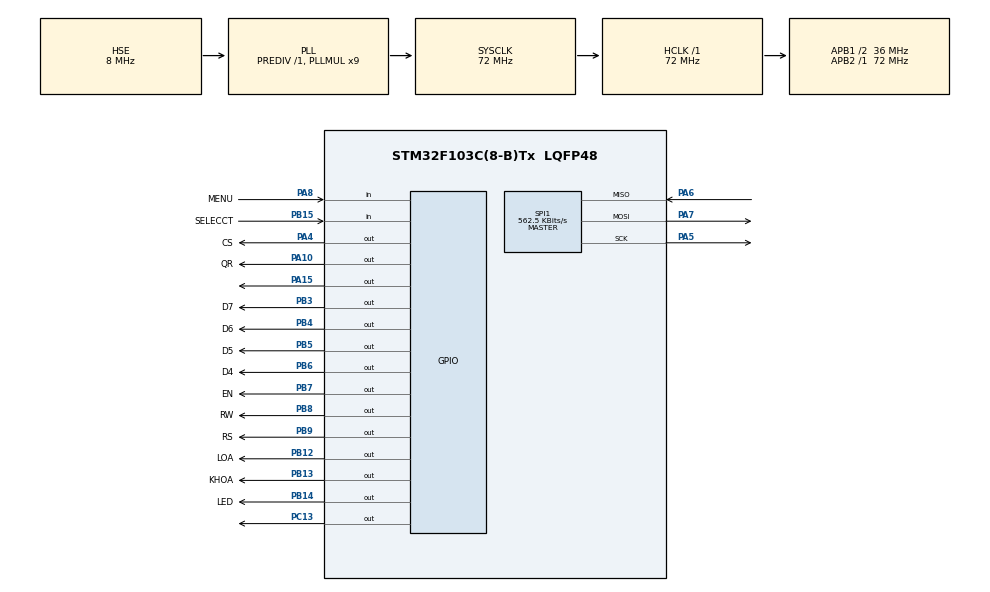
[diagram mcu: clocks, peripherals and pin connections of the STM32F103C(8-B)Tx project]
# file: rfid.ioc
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Mcu.Family=STM32F1
Mcu.Name=STM32F103C(8-B)Tx
Mcu.Package=LQFP48
NVIC.PriorityGroup=NVIC_PRIORITYGROUP_4
NVIC.TIM2_IRQn=true\:0\:0\:false\:false\:true\:true\:true\:true
PA10.GPIO_Label=QR
PA10.Signal=GPIO_Output
PA13.Mode=Serial_Wire
PA13.Signal=SYS_JTMS-SWDIO
PA14.Mode=Serial_Wire
PA14.Signal=SYS_JTCK-SWCLK
PA15.Signal=GPIO_Output
PA4.GPIO_Label=CS
PA4.Signal=GPIO_Output
PA5.Mode=Full_Duplex_Master
PA5.Signal=SPI1_SCK
PA6.Mode=Full_Duplex_Master
PA6.Signal=SPI1_MISO
PA7.Mode=Full_Duplex_Master
PA7.Signal=SPI1_MOSI
PA8.GPIO_Label=MENU
PA8.GPIO_PuPd=GPIO_PULLUP
PA8.Signal=GPIO_Input
PB12.GPIO_Label=LOA
PB12.PinState=GPIO_PIN_RESET
PB12.Signal=GPIO_Output
PB13.GPIO_Label=KHOA
PB13.PinState=GPIO_PIN_RESET
PB13.Signal=GPIO_Output
PB14.GPIO_Label=LED
PB14.PinState=GPIO_PIN_RESET
PB14.Signal=GPIO_Output
PB15.GPIO_Label=SELECCT
PB15.GPIO_PuPd=GPIO_PULLUP
PB15.Signal=GPIO_Input
PB3.GPIO_Label=D7
PB3.Signal=GPIO_Output
PB4.GPIO_Label=D6
PB4.Signal=GPIO_Output
PB5.GPIO_Label=D5
PB5.Signal=GPIO_Output
PB6.GPIO_Label=D4
PB6.Signal=GPIO_Output
PB7.GPIO_Label=EN
PB7.Signal=GPIO_Output
PB8.GPIO_Label=RW
PB8.Signal=GPIO_Output
PB9.GPIO_Label=RS
PB9.Signal=GPIO_Output
PC13-TAMPER-RTC.Signal=GPIO_Output
PD0-OSC_IN.Mode=HSE-External-Oscillator
PD0-OSC_IN.Signal=RCC_OSC_IN
PD1-OSC_OUT.Mode=HSE-External-Oscillator
PD1-OSC_OUT.Signal=RCC_OSC_OUT
ProjectManager.HeapSize=0x200
ProjectManager.StackSize=0x400
ProjectManager.TargetToolchain=STM32CubeIDE
RCC.AHBFreq_Value=72000000
RCC.APB1CLKDivider=RCC_HCLK_DIV2
RCC.APB1Freq_Value=36000000
RCC.APB1TimFreq_Value=72000000
RCC.APB2Freq_Value=72000000
RCC.APB2TimFreq_Value=72000000
RCC.HCLKFreq_Value=72000000
RCC.PLLMUL=RCC_PLL_MUL9
RCC.PLLSourceVirtual=RCC_PLLSOURCE_HSE
RCC.SYSCLKFreq_VALUE=72000000
RCC.SYSCLKSource=RCC_SYSCLKSOURCE_PLLCLK
RCC.USBFreq_Value=72000000
SPI1.BaudRatePrescaler=SPI_BAUDRATEPRESCALER_128
SPI1.CalculateBaudRate=562.5 KBits/s
SPI1.DataSize=SPI_DATASIZE_8BIT
SPI1.Direction=SPI_DIRECTION_2LINES
SPI1.Mode=SPI_MODE_MASTER
SPI1.VirtualType=VM_MASTER
TIM2.AutoReloadPreload=TIM_AUTORELOAD_PRELOAD_ENABLE
TIM2.Period=1999
TIM2.Prescaler=35999
VP_TIM2_VS_ClockSourceINT.Mode=Internal
board=custom

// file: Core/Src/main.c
/* USER CODE BEGIN Header */
/**
 ******************************************************************************
 * @file           : main.c
 * @brief          : Main program body
 ******************************************************************************
 * @attention
 *
 * Copyright (c) 2022 STMicroelectronics.
 * All rights reserved.
 *
 * This software is licensed under terms that can be found in the LICENSE file
 * in the root directory of this software component.
 * If no LICENSE file comes with this software, it is provided AS-IS.
 *
 ******************************************************************************
 */
/* USER CODE END Header */
#include "main.h"

/* USER CODE BEGIN Includes */
#include "stdio.h"
#include "lcd.h"
#include "rc522.h"
#include "flash.h"

/* USER CODE END Includes */

/* USER CODE BEGIN PD */
#define StartAddressUID 0x0800A000
/* USER CODE END PD */

SPI_HandleTypeDef hspi1;

TIM_HandleTypeDef htim2;

/* USER CODE BEGIN PV */

uint8_t CardID[MFRC522_MAX_LEN];
uint8_t exitmenu = 255;
CLCD_Name LCD1;;
uint32_t AddressUID = StartAddressUID;
uint8_t PassWord[16] = {0,1,0,1,0,1,0,1,0,1,0,1,0,1,0,1};
uint32_t delayloa = 100;
char str[20];
/* USER CODE END PV */

void SystemClock_Config(void);
static void MX_GPIO_Init(void);
static void MX_SPI1_Init(void);
static void MX_TIM2_Init(void);

/* USER CODE BEGIN 0 */

void seclectmenu(void);
void adduid(uint8_t key);
void removeuid(uint32_t address);
void checkthe(void);
void startadd(void);
void setaddress(void);
void password(void);
void resetflash(void);
uint8_t checkcountUID(void);
uint32_t CheckKey(uint8_t key);
uint8_t CheckUID(uint8_t *data, uint32_t address);
uint8_t CheckListUID(uint8_t *data);
uint8_t checkbuton(GPIO_TypeDef *GPIOx, uint16_t GPIO_Pin);

void HAL_TIM_PeriodElapsedCallback(TIM_HandleTypeDef *htim)
{
	HAL_GPIO_TogglePin(GPIOC, GPIO_PIN_13);
	if(exitmenu > 0)
		exitmenu --;
	else exitmenu = 0;
}

/* USER CODE END 0 */

int main(void)
{

  /* MCU Configuration--------------------------------------------------------*/

  /* Reset of all peripherals, Initializes the Flash interface and the Systick. */
  HAL_Init();

  /* Configure the system clock */
  SystemClock_Config();

  /* Initialize all configured peripherals */
  MX_GPIO_Init();
  MX_SPI1_Init();
  MX_TIM2_Init();
  /* USER CODE BEGIN 2 */

	TM_MFRC522_Init();

	CLCD_4BIT_Init(&LCD1, 16, 2, RS_GPIO_Port, RS_Pin, EN_GPIO_Port, EN_Pin,
				   D4_GPIO_Port, D4_Pin, D5_GPIO_Port, D5_Pin,
				   D6_GPIO_Port, D6_Pin, D7_GPIO_Port, D7_Pin);
  /* USER CODE END 2 */

  /* Infinite loop */
  /* USER CODE BEGIN WHILE */
	HAL_TIM_Base_Start_IT(&htim2);
	if (checkcountUID() == 0)
	{
		startadd();
	}
	while (1)
	{
    /* USER CODE END WHILE */

    /* USER CODE BEGIN 3 */

		CLCD_SetCursor(&LCD1, 0, 0);
		CLCD_WriteString(&LCD1, " MOI QUET THE ");
		if (checkbuton(MENU_GPIO_Port, MENU_Pin) != 0)
		{
			exitmenu = 15;
			CLCD_SetCursor(&LCD1, 0, 1);
			CLCD_WriteString(&LCD1, "THE NGUOI LON");
			uint8_t key = 0;
			uint8_t stat ;
			while (exitmenu )
			{
				if (TM_MFRC522_Check(CardID) == MI_OK)
				{
					HAL_GPIO_WritePin(LED_GPIO_Port, LED_Pin, 1);
					HAL_GPIO_WritePin(LOA_GPIO_Port, LOA_Pin, 1);
					HAL_Delay(delayloa);
					HAL_GPIO_WritePin(LOA_GPIO_Port, LOA_Pin, 0);
					HAL_GPIO_WritePin(LED_GPIO_Port, LED_Pin, 0);
					key = CheckListUID(CardID);
					key = key >> 4;
					break;
				}
				stat = checkbuton(MENU_GPIO_Port, MENU_Pin);
				switch(stat){
				case 0:
					break;
				case 3:
					password();
					key = 99;
					exitmenu = 0;
					break;
				default :
					key = 2;
					exitmenu = 0;
					break;
				}
			}
			switch (key){
			case 1:
				seclectmenu();
				break;
			case 99:
				break;
			default:
				CLCD_Clear(&LCD1);
				CLCD_SetCursor(&LCD1, 0, 0);
				CLCD_WriteString(&LCD1, "      SAI ");
				CLCD_SetCursor(&LCD1, 0, 1);
				CLCD_WriteString(&LCD1, "KHONG CO QUYEN");
				HAL_Delay(1000);
				CLCD_Clear(&LCD1);
				break;
			}
		}
		if (TM_MFRC522_Check(CardID) == MI_OK)
		{
//			sprintf(str, "ID: 0x%02X%02X%02X%02X%02X", CardID[0], CardID[1], CardID[2], CardID[3], CardID[4]);
			HAL_GPIO_WritePin(LED_GPIO_Port, LED_Pin, 1);
			HAL_GPIO_WritePin(LOA_GPIO_Port, LOA_Pin, 1);
			HAL_Delay(delayloa);
			HAL_GPIO_WritePin(LOA_GPIO_Port, LOA_Pin, 0);
			HAL_GPIO_WritePin(LED_GPIO_Port, LED_Pin, 0);
			if (CheckListUID(CardID) != 0)
			{
				HAL_GPIO_WritePin(KHOA_GPIO_Port, KHOA_Pin, 1);
				CLCD_Clear(&LCD1);
				CLCD_SetCursor(&LCD1, 0, 0);
				CLCD_WriteString(&LCD1, "    WELCOME");
				CLCD_SetCursor(&LCD1, 0, 1);
				CLCD_WriteString(&LCD1,str);
				HAL_Delay(5000);
				HAL_GPIO_WritePin(KHOA_GPIO_Port, KHOA_Pin, 0);
			}
			else
			{
				CLCD_Clear(&LCD1);
				CLCD_SetCursor(&LCD1, 0, 0);
				CLCD_WriteString(&LCD1, "   THE SAI");
				CLCD_SetCursor(&LCD1, 0, 1);
				CLCD_WriteString(&LCD1, str);
				HAL_Delay(5000);
			}

			CLCD_Clear(&LCD1);
			CLCD_SetCursor(&LCD1, 0, 0);
			CLCD_WriteString(&LCD1, " MOI QUET THE ");
		}
	}
  /* USER CODE END 3 */
}

void SystemClock_Config(void)
{
  RCC_OscInitTypeDef RCC_OscInitStruct = {0};
  RCC_ClkInitTypeDef RCC_ClkInitStruct = {0};

  /** Initializes the RCC Oscillators according to the specified parameters
  * in the RCC_OscInitTypeDef structure.
  */
  RCC_OscInitStruct.OscillatorType = RCC_OSCILLATORTYPE_HSE;
  RCC_OscInitStruct.HSEState = RCC_HSE_ON;
  RCC_OscInitStruct.HSEPredivValue = RCC_HSE_PREDIV_DIV1;
  RCC_OscInitStruct.HSIState = RCC_HSI_ON;
  RCC_OscInitStruct.PLL.PLLState = RCC_PLL_ON;
  RCC_OscInitStruct.PLL.PLLSource = RCC_PLLSOURCE_HSE;
  RCC_OscInitStruct.PLL.PLLMUL = RCC_PLL_MUL9;
  if (HAL_RCC_OscConfig(&RCC_OscInitStruct) != HAL_OK)
  {
    Error_Handler();
  }

  /** Initializes the CPU, AHB and APB buses clocks
  */
  RCC_ClkInitStruct.ClockType = RCC_CLOCKTYPE_HCLK|RCC_CLOCKTYPE_SYSCLK
                              |RCC_CLOCKTYPE_PCLK1|RCC_CLOCKTYPE_PCLK2;
  RCC_ClkInitStruct.SYSCLKSource = RCC_SYSCLKSOURCE_PLLCLK;
  RCC_ClkInitStruct.AHBCLKDivider = RCC_SYSCLK_DIV1;
  RCC_ClkInitStruct.APB1CLKDivider = RCC_HCLK_DIV2;
  RCC_ClkInitStruct.APB2CLKDivider = RCC_HCLK_DIV1;

  if (HAL_RCC_ClockConfig(&RCC_ClkInitStruct, FLASH_LATENCY_2) != HAL_OK)
  {
    Error_Handler();
  }
}

static void MX_SPI1_Init(void)
{

  /* SPI1 parameter configuration*/
  hspi1.Instance = SPI1;
  hspi1.Init.Mode = SPI_MODE_MASTER;
  hspi1.Init.Direction = SPI_DIRECTION_2LINES;
  hspi1.Init.DataSize = SPI_DATASIZE_8BIT;
  hspi1.Init.CLKPolarity = SPI_POLARITY_LOW;
  hspi1.Init.CLKPhase = SPI_PHASE_1EDGE;
  hspi1.Init.NSS = SPI_NSS_SOFT;
  hspi1.Init.BaudRatePrescaler = SPI_BAUDRATEPRESCALER_128;
  hspi1.Init.FirstBit = SPI_FIRSTBIT_MSB;
  hspi1.Init.TIMode = SPI_TIMODE_DISABLE;
  hspi1.Init.CRCCalculation = SPI_CRCCALCULATION_DISABLE;
  hspi1.Init.CRCPolynomial = 10;
  if (HAL_SPI_Init(&hspi1) != HAL_OK)
  {
    Error_Handler();
  }

}

static void MX_TIM2_Init(void)
{

  TIM_ClockConfigTypeDef sClockSourceConfig = {0};
  TIM_MasterConfigTypeDef sMasterConfig = {0};

  htim2.Instance = TIM2;
  htim2.Init.Prescaler = 35999;
  htim2.Init.CounterMode = TIM_COUNTERMODE_UP;
  htim2.Init.Period = 1999;
  htim2.Init.ClockDivision = TIM_CLOCKDIVISION_DIV1;
  htim2.Init.AutoReloadPreload = TIM_AUTORELOAD_PRELOAD_ENABLE;
  if (HAL_TIM_Base_Init(&htim2) != HAL_OK)
  {
    Error_Handler();
  }
  sClockSourceConfig.ClockSource = TIM_CLOCKSOURCE_INTERNAL;
  if (HAL_TIM_ConfigClockSource(&htim2, &sClockSourceConfig) != HAL_OK)
  {
    Error_Handler();
  }
  sMasterConfig.MasterOutputTrigger = TIM_TRGO_RESET;
  sMasterConfig.MasterSlaveMode = TIM_MASTERSLAVEMODE_DISABLE;
  if (HAL_TIMEx_MasterConfigSynchronization(&htim2, &sMasterConfig) != HAL_OK)
  {
    Error_Handler();
  }

}

static void MX_GPIO_Init(void)
{
  GPIO_InitTypeDef GPIO_InitStruct = {0};

  /* GPIO Ports Clock Enable */
  __HAL_RCC_GPIOC_CLK_ENABLE();
  __HAL_RCC_GPIOD_CLK_ENABLE();
  __HAL_RCC_GPIOA_CLK_ENABLE();
  __HAL_RCC_GPIOB_CLK_ENABLE();

  /*Configure GPIO pin Output Level */
  HAL_GPIO_WritePin(GPIOC, GPIO_PIN_13, GPIO_PIN_RESET);

  /*Configure GPIO pin Output Level */
  HAL_GPIO_WritePin(GPIOA, CS_Pin|QR_Pin|GPIO_PIN_15, GPIO_PIN_RESET);

  /*Configure GPIO pin Output Level */
  HAL_GPIO_WritePin(GPIOB, LOA_Pin|KHOA_Pin|LED_Pin|D7_Pin
                          |D6_Pin|D5_Pin|D4_Pin|EN_Pin
                          |RW_Pin|RS_Pin, GPIO_PIN_RESET);

  /*Configure GPIO pin : PC13 */
  GPIO_InitStruct.Pin = GPIO_PIN_13;
  GPIO_InitStruct.Mode = GPIO_MODE_OUTPUT_PP;
  GPIO_InitStruct.Pull = GPIO_NOPULL;
  GPIO_InitStruct.Speed = GPIO_SPEED_FREQ_LOW;
  HAL_GPIO_Init(GPIOC, &GPIO_InitStruct);

  /*Configure GPIO pins : CS_Pin QR_Pin PA15 */
  GPIO_InitStruct.Pin = CS_Pin|QR_Pin|GPIO_PIN_15;
  GPIO_InitStruct.Mode = GPIO_MODE_OUTPUT_PP;
  GPIO_InitStruct.Pull = GPIO_NOPULL;
  GPIO_InitStruct.Speed = GPIO_SPEED_FREQ_LOW;
  HAL_GPIO_Init(GPIOA, &GPIO_InitStruct);

  /*Configure GPIO pins : LOA_Pin KHOA_Pin LED_Pin D7_Pin
                           D6_Pin D5_Pin D4_Pin EN_Pin
                           RW_Pin RS_Pin */
  GPIO_InitStruct.Pin = LOA_Pin|KHOA_Pin|LED_Pin|D7_Pin
                          |D6_Pin|D5_Pin|D4_Pin|EN_Pin
                          |RW_Pin|RS_Pin;
  GPIO_InitStruct.Mode = GPIO_MODE_OUTPUT_PP;
  GPIO_InitStruct.Pull = GPIO_NOPULL;
  GPIO_InitStruct.Speed = GPIO_SPEED_FREQ_LOW;
  HAL_GPIO_Init(GPIOB, &GPIO_InitStruct);

  /*Configure GPIO pin : SELECCT_Pin */
  GPIO_InitStruct.Pin = SELECCT_Pin;
  GPIO_InitStruct.Mode = GPIO_MODE_INPUT;
  GPIO_InitStruct.Pull = GPIO_PULLUP;
  HAL_GPIO_Init(SELECCT_GPIO_Port, &GPIO_InitStruct);

  /*Configure GPIO pin : MENU_Pin */
  GPIO_InitStruct.Pin = MENU_Pin;
  GPIO_InitStruct.Mode = GPIO_MODE_INPUT;
  GPIO_InitStruct.Pull = GPIO_PULLUP;
  HAL_GPIO_Init(MENU_GPIO_Port, &GPIO_InitStruct);

}

/* USER CODE BEGIN 4 */
uint8_t checkbuton(GPIO_TypeDef *GPIOx, uint16_t GPIO_Pin)
{
	if (HAL_GPIO_ReadPin(GPIOx, GPIO_Pin) == 1)
		return 0;
	else
	{
		HAL_Delay(50);
		if(HAL_GPIO_ReadPin(GPIOx, GPIO_Pin) == 1)	return 0;
		uint8_t i = 50;
		while (HAL_GPIO_ReadPin(GPIOx, GPIO_Pin) == 0)
		{
			HAL_Delay(10);
			i--;
			if (i == 0)
			{
				i = 250;
				while (HAL_GPIO_ReadPin(GPIOx, GPIO_Pin) == 0)
				{
					HAL_Delay(10);
					i--;
					if(i == 0)	return 3;
				}
				return 2;
			}
		}
		return 1;
	}
}

void seclectmenu(void)
{
	exitmenu = 15;
	uint8_t status = -1;
	CLCD_Clear(&LCD1);
	CLCD_SetCursor(&LCD1, 0, 0);
	CLCD_WriteString(&LCD1, "  SELECT MENU");
	CLCD_SetCursor(&LCD1, 0, 1);
	CLCD_WriteString(&LCD1, "    THEM THE");
	while (exitmenu )
	{
		if (checkbuton(SELECCT_GPIO_Port, SELECCT_Pin) != 0)
		{
			exitmenu = 15;
			status++;
			status = (status > 3) ? 0 : status;
			switch (status)
			{
			case 0:
				CLCD_Clear(&LCD1);
				CLCD_SetCursor(&LCD1, 0, 0);
				CLCD_WriteString(&LCD1, "=>  THEM THE");
				CLCD_SetCursor(&LCD1, 0, 1);
				CLCD_WriteString(&LCD1, "    XOA THE");
				break;
			case 1:
				CLCD_Clear(&LCD1);
				CLCD_SetCursor(&LCD1, 0, 0);
				CLCD_WriteString(&LCD1, "    THEM THE");
				CLCD_SetCursor(&LCD1, 0, 1);
				CLCD_WriteString(&LCD1, "=>  XOA THE");
				break;
			case 2:
				CLCD_Clear(&LCD1);
				CLCD_SetCursor(&LCD1, 0, 0);
				CLCD_WriteString(&LCD1, "    XOA THE");
				CLCD_SetCursor(&LCD1, 0, 1);
				CLCD_WriteString(&LCD1, "=>  TRA THE");
				break;
			default:
				CLCD_Clear(&LCD1);
				CLCD_SetCursor(&LCD1, 0, 0);
				CLCD_WriteString(&LCD1, "    TRA THE");
				CLCD_SetCursor(&LCD1, 0, 1);
				CLCD_WriteString(&LCD1, "=>  THOAT");
				break;
			}
		}
		if (checkbuton(MENU_GPIO_Port, MENU_Pin) != 0)
		{
			exitmenu = 15;
			switch (status)
			{
			case 0:
				CLCD_Clear(&LCD1);
				CLCD_SetCursor(&LCD1, 0, 0);
				CLCD_WriteString(&LCD1, "    SELECT ");
				CLCD_SetCursor(&LCD1, 0, 1);
				CLCD_WriteString(&LCD1, "   THE NGUOI LON");
				uint8_t statusadd = 0;
				uint8_t back = 1;
				while (back == 1)
				{
					if (exitmenu == 0)
					{
						CLCD_Clear(&LCD1);
						HAL_Delay(1000);
						return;
					}
					if (checkbuton(SELECCT_GPIO_Port, SELECCT_Pin) != 0)
					{
						exitmenu = 15;
						statusadd++;
						statusadd = (statusadd > 2) ? 0 : statusadd;
						switch (statusadd)
						{
						case 1:
							CLCD_Clear(&LCD1);
							CLCD_SetCursor(&LCD1, 0, 0);
							CLCD_WriteString(&LCD1, "=> THE NGUOI LON");
							CLCD_SetCursor(&LCD1, 0, 1);
							CLCD_WriteString(&LCD1, "   THE TRE EM");
							break;
						case 2:
							CLCD_Clear(&LCD1);
							CLCD_SetCursor(&LCD1, 0, 0);
							CLCD_WriteString(&LCD1, "   THE NGUOI LON");
							CLCD_SetCursor(&LCD1, 0, 1);
							CLCD_WriteString(&LCD1, "=> THE TRE EM");
							break;
						default:
							CLCD_Clear(&LCD1);
							CLCD_SetCursor(&LCD1, 0, 0);
							CLCD_WriteString(&LCD1, "   THE TRE EM");
							CLCD_SetCursor(&LCD1, 0, 1);
							CLCD_WriteString(&LCD1, "=> BACK");
							break;
						}
					}
					if (checkbuton(MENU_GPIO_Port, MENU_Pin) != 0)
					{
						exitmenu = 15;
						switch (statusadd)
						{
						case 1:
							CLCD_Clear(&LCD1);
							CLCD_SetCursor(&LCD1, 0, 0);
							CLCD_WriteString(&LCD1, "=>  THE 1 ");
							CLCD_SetCursor(&LCD1, 0, 1);
							CLCD_WriteString(&LCD1, "    THE 2 ");
							uint8_t statusadd1 = 1;
							uint8_t back11 = 1;
							while (back11 == 1)
							{
								if (exitmenu == 0)
								{
									CLCD_Clear(&LCD1);
									HAL_Delay(1000);
									return;
								}
								if (checkbuton(SELECCT_GPIO_Port, SELECCT_Pin) != 0)
								{
									exitmenu = 15;
									statusadd1++;
									statusadd1 = (statusadd1 > 4) ? 0 : statusadd1;
									switch (statusadd1)
									{
									case 1:
										CLCD_Clear(&LCD1);
										CLCD_SetCursor(&LCD1, 0, 0);
										CLCD_WriteString(&LCD1, "=>  THE 1 ");
										CLCD_SetCursor(&LCD1, 0, 1);
										CLCD_WriteString(&LCD1, "    THE 2 ");
										break;
									case 2:
										CLCD_Clear(&LCD1);
										CLCD_SetCursor(&LCD1, 0, 0);
										CLCD_WriteString(&LCD1, "=>  THE 2 ");
										CLCD_SetCursor(&LCD1, 0, 1);
										CLCD_WriteString(&LCD1, "    THE 3 ");
										break;
									case 3:
										CLCD_Clear(&LCD1);
										CLCD_SetCursor(&LCD1, 0, 0);
										CLCD_WriteString(&LCD1, "=>  THE 3 ");
										CLCD_SetCursor(&LCD1, 0, 1);
										CLCD_WriteString(&LCD1, "    THE 4 ");
										break;
									case 4:
										CLCD_Clear(&LCD1);
										CLCD_SetCursor(&LCD1, 0, 0);
										CLCD_WriteString(&LCD1, "=>  THE 4 ");
										CLCD_SetCursor(&LCD1, 0, 1);
										CLCD_WriteString(&LCD1, "    BACK ");
										break;
									default:
										CLCD_Clear(&LCD1);
										CLCD_SetCursor(&LCD1, 0, 0);
										CLCD_WriteString(&LCD1, "    THE 4 ");
										CLCD_SetCursor(&LCD1, 0, 1);
										CLCD_WriteString(&LCD1, "=>  BACK");
										break;
									}
								}
								if (checkbuton(MENU_GPIO_Port, MENU_Pin) != 0)
								{
									exitmenu = 15;
									uint8_t keyadd1 = (statusadd << 4) + statusadd1;
									switch (statusadd1)
									{
									case 1:
										if (CheckKey(keyadd1) != 0)
										{
											CLCD_Clear(&LCD1);
											CLCD_SetCursor(&LCD1, 0, 0);
											CLCD_WriteString(&LCD1, "  DA CO THE 1 ");
											HAL_Delay(1000);
											CLCD_Clear(&LCD1);
											CLCD_SetCursor(&LCD1, 0, 0);
											CLCD_WriteString(&LCD1, "=>  THE 1 ");
											CLCD_SetCursor(&LCD1, 0, 1);
											CLCD_WriteString(&LCD1, "    THE 2 ");
										}
										else
										{
											adduid(keyadd1);
											CLCD_Clear(&LCD1);
											CLCD_SetCursor(&LCD1, 0, 0);
											CLCD_WriteString(&LCD1, "=>  THE 1 ");
											CLCD_SetCursor(&LCD1, 0, 1);
											CLCD_WriteString(&LCD1, "    THE 2 ");
										}
										break;
									case 2:
										if (CheckKey(keyadd1) != 0)
										{
											CLCD_Clear(&LCD1);
											CLCD_SetCursor(&LCD1, 0, 0);
											CLCD_WriteString(&LCD1, "  DA CO THE 2 ");
											HAL_Delay(1000);
											CLCD_Clear(&LCD1);
											CLCD_SetCursor(&LCD1, 0, 0);
											CLCD_WriteString(&LCD1, "=>  THE 2 ");
											CLCD_SetCursor(&LCD1, 0, 1);
											CLCD_WriteString(&LCD1, "    THE 3 ");
										}
										else
										{
											adduid(keyadd1);
											CLCD_Clear(&LCD1);
											CLCD_SetCursor(&LCD1, 0, 0);
											CLCD_WriteString(&LCD1, "=>  THE 2 ");
											CLCD_SetCursor(&LCD1, 0, 1);
											CLCD_WriteString(&LCD1, "    THE 3 ");
										}
										break;
									case 3:
										if (CheckKey(keyadd1) != 0)
										{
											CLCD_Clear(&LCD1);
											CLCD_SetCursor(&LCD1, 0, 0);
											CLCD_WriteString(&LCD1, "  DA CO THE 3 ");
											HAL_Delay(1000);
											CLCD_Clear(&LCD1);
											CLCD_SetCursor(&LCD1, 0, 0);
											CLCD_WriteString(&LCD1, "=>  THE 3 ");
											CLCD_SetCursor(&LCD1, 0, 1);
											CLCD_WriteString(&LCD1, "    THE 4 ");
										}
										else
										{
											adduid(keyadd1);
											CLCD_Clear(&LCD1);
											CLCD_SetCursor(&LCD1, 0, 0);
											CLCD_WriteString(&LCD1, "=>  THE 3 ");
											CLCD_SetCursor(&LCD1, 0, 1);
											CLCD_WriteString(&LCD1, "    THE 4 ");
										}
										break;
									case 4:
										if (CheckKey(keyadd1) != 0)
										{
											CLCD_Clear(&LCD1);
											CLCD_SetCursor(&LCD1, 0, 0);
											CLCD_WriteString(&LCD1, "  DA CO THE 4 ");
											HAL_Delay(1000);
											CLCD_Clear(&LCD1);
											CLCD_SetCursor(&LCD1, 0, 0);
											CLCD_WriteString(&LCD1, "=>  THE 4 ");
											CLCD_SetCursor(&LCD1, 0, 1);
											CLCD_WriteString(&LCD1, "    BACK ");
										}
										else
										{
											adduid(keyadd1);
											CLCD_Clear(&LCD1);
											CLCD_SetCursor(&LCD1, 0, 0);
											CLCD_WriteString(&LCD1, "=>  THE 4 ");
											CLCD_SetCursor(&LCD1, 0, 1);
											CLCD_WriteString(&LCD1, "    BACK ");
										}
										break;
									default:
										back11 = 0;
										break;
									}
								}
							}
							CLCD_Clear(&LCD1);
							CLCD_SetCursor(&LCD1, 0, 0);
							CLCD_WriteString(&LCD1, "=> THE NGUOI LON");
							CLCD_SetCursor(&LCD1, 0, 1);
							CLCD_WriteString(&LCD1, "   THE TRE EM");
							break;
						case 2:
							CLCD_Clear(&LCD1);
							CLCD_SetCursor(&LCD1, 0, 0);
							CLCD_WriteString(&LCD1, "=>  THE 1 ");
							CLCD_SetCursor(&LCD1, 0, 1);
							CLCD_WriteString(&LCD1, "    THE 2 ");
							uint8_t statusadd2 = 1;
							uint8_t back12 = 1;
							while (back12 == 1)
							{
								if (exitmenu == 0)
								{
									CLCD_Clear(&LCD1);
									HAL_Delay(1000);
									return;
								}
								if (checkbuton(SELECCT_GPIO_Port, SELECCT_Pin) != 0)
								{
									exitmenu = 15;
									statusadd2++;
									statusadd2 = (statusadd2 > 4) ? 0 : statusadd2;
									switch (statusadd2)
									{
									case 1:
										CLCD_Clear(&LCD1);
										CLCD_SetCursor(&LCD1, 0, 0);
										CLCD_WriteString(&LCD1, "=>  THE 1 ");
										CLCD_SetCursor(&LCD1, 0, 1);
										CLCD_WriteString(&LCD1, "    THE 2 ");
										break;
									case 2:
										CLCD_Clear(&LCD1);
										CLCD_SetCursor(&LCD1, 0, 0);
										CLCD_WriteString(&LCD1, "=>  THE 2 ");
										CLCD_SetCursor(&LCD1, 0, 1);
										CLCD_WriteString(&LCD1, "    THE 3 ");
										break;
									case 3:
										CLCD_Clear(&LCD1);
										CLCD_SetCursor(&LCD1, 0, 0);
										CLCD_WriteString(&LCD1, "=>  THE 3 ");
										CLCD_SetCursor(&LCD1, 0, 1);
										CLCD_WriteString(&LCD1, "    THE 4 ");
										break;
									case 4:
										CLCD_Clear(&LCD1);
										CLCD_SetCursor(&LCD1, 0, 0);
										CLCD_WriteString(&LCD1, "=>  THE 4 ");
										CLCD_SetCursor(&LCD1, 0, 1);
										CLCD_WriteString(&LCD1, "    BACK ");
										break;
									default:
										CLCD_Clear(&LCD1);
										CLCD_SetCursor(&LCD1, 0, 0);
										CLCD_WriteString(&LCD1, "    THE 4 ");
										CLCD_SetCursor(&LCD1, 0, 1);
										CLCD_WriteString(&LCD1, "=>  BACK");
										break;
									}
								}
								if (checkbuton(MENU_GPIO_Port, MENU_Pin) != 0)
								{
									exitmenu = 15;
									uint8_t keyadd2 = (statusadd << 4) + statusadd2;
									switch (statusadd2)
									{
									case 1:
										if (CheckKey(keyadd2) != 0)
										{
											CLCD_Clear(&LCD1);
											CLCD_SetCursor(&LCD1, 0, 0);
											CLCD_WriteString(&LCD1, "  DA CO THE 1 ");
											HAL_Delay(1000);
											CLCD_Clear(&LCD1);
											CLCD_SetCursor(&LCD1, 0, 0);
											CLCD_WriteString(&LCD1, "=>  THE 1 ");
											CLCD_SetCursor(&LCD1, 0, 1);
											CLCD_WriteString(&LCD1, "    THE 2 ");
										}
										else
										{
											adduid(keyadd2);
											CLCD_Clear(&LCD1);
											CLCD_SetCursor(&LCD1, 0, 0);
											CLCD_WriteString(&LCD1, "=>  THE 1 ");
											CLCD_SetCursor(&LCD1, 0, 1);
											CLCD_WriteString(&LCD1, "    THE 2 ");
										}
										break;
									case 2:
										if (CheckKey(keyadd2) != 0)
										{
											CLCD_Clear(&LCD1);
											CLCD_SetCursor(&LCD1, 0, 0);
											CLCD_WriteString(&LCD1, "  DA CO THE 2 ");
											HAL_Delay(1000);
											CLCD_Clear(&LCD1);
											CLCD_SetCursor(&LCD1, 0, 0);
											CLCD_WriteString(&LCD1, "=>  THE 2 ");
											CLCD_SetCursor(&LCD1, 0, 1);
											CLCD_WriteString(&LCD1, "    THE 3 ");
										}
										else
										{
											adduid(keyadd2);
											CLCD_Clear(&LCD1);
											CLCD_SetCursor(&LCD1, 0, 0);
											CLCD_WriteString(&LCD1, "=>  THE 2 ");
											CLCD_SetCursor(&LCD1, 0, 1);
											CLCD_WriteString(&LCD1, "    THE 3 ");
										}
										break;
									case 3:
										if (CheckKey(keyadd2) != 0)
										{
											CLCD_Clear(&LCD1);
											CLCD_SetCursor(&LCD1, 0, 0);
											CLCD_WriteString(&LCD1, "  DA CO THE 3 ");
											HAL_Delay(1000);
											CLCD_Clear(&LCD1);
											CLCD_SetCursor(&LCD1, 0, 0);
											CLCD_WriteString(&LCD1, "=>  THE 3 ");
											CLCD_SetCursor(&LCD1, 0, 1);
											CLCD_WriteString(&LCD1, "    THE 4 ");
										}
										else
										{
											adduid(keyadd2);
											CLCD_Clear(&LCD1);
											CLCD_SetCursor(&LCD1, 0, 0);
											CLCD_WriteString(&LCD1, "=>  THE 3 ");
											CLCD_SetCursor(&LCD1, 0, 1);
											CLCD_WriteString(&LCD1, "    THE 4 ");
										}
										break;
									case 4:
										if (CheckKey(keyadd2) != 0)
										{
											CLCD_Clear(&LCD1);
											CLCD_SetCursor(&LCD1, 0, 0);
											CLCD_WriteString(&LCD1, "  DA CO THE 4 ");
											HAL_Delay(1000);
											CLCD_Clear(&LCD1);
											CLCD_SetCursor(&LCD1, 0, 0);
											CLCD_WriteString(&LCD1, "=>  THE 4 ");
											CLCD_SetCursor(&LCD1, 0, 1);
											CLCD_WriteString(&LCD1, "    BACK ");
										}
										else
										{
											adduid(keyadd2);
											CLCD_Clear(&LCD1);
											CLCD_SetCursor(&LCD1, 0, 0);
											CLCD_WriteString(&LCD1, "=>  THE 4 ");
											CLCD_SetCursor(&LCD1, 0, 1);
											CLCD_WriteString(&LCD1, "    BACK ");
										}
										break;
									default:
										back12 = 0;
										break;
									}
								}
							}
							CLCD_Clear(&LCD1);
							CLCD_SetCursor(&LCD1, 0, 0);
							CLCD_WriteString(&LCD1, "   THE NGUOI LON");
							CLCD_SetCursor(&LCD1, 0, 1);
							CLCD_WriteString(&LCD1, "=> THE TRE EM");
							break;
						default:
							back = 0;
							break;
						}
					}
				}
				CLCD_Clear(&LCD1);
				CLCD_SetCursor(&LCD1, 0, 0);
				CLCD_WriteString(&LCD1, "=>  THEM THE");
				CLCD_SetCursor(&LCD1, 0, 1);
				CLCD_WriteString(&LCD1, "    XOA THE");
				break;
			case 1:
				CLCD_Clear(&LCD1);
				CLCD_SetCursor(&LCD1, 0, 0);
				CLCD_WriteString(&LCD1, "     SELECT ");
				CLCD_SetCursor(&LCD1, 0, 1);
				CLCD_WriteString(&LCD1, "   XOA 1 THE");
				uint8_t statusremove = -1;
				uint8_t backrm = 1;
				while (backrm == 1)
				{
					if (exitmenu == 0)
					{
						CLCD_Clear(&LCD1);
						HAL_Delay(1000);
						return;
					}
					if (checkbuton(SELECCT_GPIO_Port, SELECCT_Pin) != 0)
					{
						exitmenu = 15;
						statusremove++;
						statusremove = (statusremove > 2) ? 0 : statusremove;
						switch (statusremove)
						{
						case 0:
							CLCD_Clear(&LCD1);
							CLCD_SetCursor(&LCD1, 0, 0);
							CLCD_WriteString(&LCD1, "=> XOA 1 THE");
							CLCD_SetCursor(&LCD1, 0, 1);
							CLCD_WriteString(&LCD1, "   XOA TAT CA");
							break;
						case 1:
							CLCD_Clear(&LCD1);
							CLCD_SetCursor(&LCD1, 0, 0);
							CLCD_WriteString(&LCD1, "   XOA 1 THE");
							CLCD_SetCursor(&LCD1, 0, 1);
							CLCD_WriteString(&LCD1, "=> XOA TAT CA");
							break;
						default:
							CLCD_Clear(&LCD1);
							CLCD_SetCursor(&LCD1, 0, 0);
							CLCD_WriteString(&LCD1, "   XOA TAT CA");
							CLCD_SetCursor(&LCD1, 0, 1);
							CLCD_WriteString(&LCD1, "=> BACK");
							break;
						}
					}
					if (checkbuton(MENU_GPIO_Port, MENU_Pin) != 0)
					{
						exitmenu = 15;
						switch (statusremove)
						{
						case 0:
							CLCD_Clear(&LCD1);
							CLCD_SetCursor(&LCD1, 0, 0);
							CLCD_WriteString(&LCD1, "=> CHON THE");
							CLCD_SetCursor(&LCD1, 0, 1);
							CLCD_WriteString(&LCD1, "   QUET THE");
							uint8_t statusrm1 = 0;
							uint8_t backrm1 = 1;
							while (backrm1 == 1)
							{
								if (exitmenu == 0)
								{
									CLCD_Clear(&LCD1);
									HAL_Delay(1000);
									return;
								}
								if (checkbuton(SELECCT_GPIO_Port, SELECCT_Pin) != 0)
								{
									statusrm1++;
									statusrm1 = (statusrm1 > 2) ? 0 : statusrm1;
									switch (statusrm1)
									{
									case 0:
										CLCD_Clear(&LCD1);
										CLCD_SetCursor(&LCD1, 0, 0);
										CLCD_WriteString(&LCD1, "=> CHON THE");
										CLCD_SetCursor(&LCD1, 0, 1);
										CLCD_WriteString(&LCD1, "   QUET THE");
										break;
									case 1:
										CLCD_Clear(&LCD1);
										CLCD_SetCursor(&LCD1, 0, 0);
										CLCD_WriteString(&LCD1, "   CHON THE");
										CLCD_SetCursor(&LCD1, 0, 1);
										CLCD_WriteString(&LCD1, "=> QUET THE");
										;
										break;
									default:
										CLCD_Clear(&LCD1);
										CLCD_SetCursor(&LCD1, 0, 0);
										CLCD_WriteString(&LCD1, "   QUET THE");
										CLCD_SetCursor(&LCD1, 0, 1);
										CLCD_WriteString(&LCD1, "=> BACK");
										break;
									}
								}
								if (checkbuton(MENU_GPIO_Port, MENU_Pin) != 0)
								{
									exitmenu = 15;
									switch (statusrm1)
									{
									case 0:
										CLCD_Clear(&LCD1);
										CLCD_SetCursor(&LCD1, 0, 0);
										CLCD_WriteString(&LCD1, "=> THE NGUOI LON");
										CLCD_SetCursor(&LCD1, 0, 1);
										CLCD_WriteString(&LCD1, "   THE TRE EM");
										uint8_t statusadd = 1;
										uint8_t backrm10 = 1;
										while (backrm10 == 1)
										{
											if (exitmenu == 0)
											{
												CLCD_Clear(&LCD1);
												HAL_Delay(1000);
												return;
											}
											if (checkbuton(SELECCT_GPIO_Port, SELECCT_Pin) != 0)
											{
												exitmenu = 15;
												statusadd++;
												statusadd = (statusadd > 2) ? 0 : statusadd;
												switch (statusadd)
												{
												case 1:
													CLCD_Clear(&LCD1);
													CLCD_SetCursor(&LCD1, 0, 0);
													CLCD_WriteString(&LCD1, "=> THE NGUOI LON");
													CLCD_SetCursor(&LCD1, 0, 1);
													CLCD_WriteString(&LCD1, "   THE TRE EM");
													break;
												case 2:
													CLCD_Clear(&LCD1);
													CLCD_SetCursor(&LCD1, 0, 0);
													CLCD_WriteString(&LCD1, "   THE NGUOI LON");
													CLCD_SetCursor(&LCD1, 0, 1);
													CLCD_WriteString(&LCD1, "=> THE TRE EM");
													break;
												default:
													CLCD_Clear(&LCD1);
													CLCD_SetCursor(&LCD1, 0, 0);
													CLCD_WriteString(&LCD1, "   THE TRE EM");
													CLCD_SetCursor(&LCD1, 0, 1);
													CLCD_WriteString(&LCD1, "=> BACK");
													break;
												}
											}
											if (checkbuton(MENU_GPIO_Port, MENU_Pin) != 0)
											{
												exitmenu = 15;
												switch (statusadd)
												{
												case 1:
													CLCD_Clear(&LCD1);
													CLCD_SetCursor(&LCD1, 0, 0);
													CLCD_WriteString(&LCD1, "=>  THE 1 ");
													CLCD_SetCursor(&LCD1, 0, 1);
													CLCD_WriteString(&LCD1, "    THE 2 ");
													uint8_t statusadd1 = 1;
													uint8_t back11 = 1;
													while (back11 == 1)
													{
														if (exitmenu == 0)
														{
															CLCD_Clear(&LCD1);
															HAL_Delay(1000);
															return;
														}
														if (checkbuton(SELECCT_GPIO_Port, SELECCT_Pin) != 0)
														{
															exitmenu = 15;
															statusadd1++;
															statusadd1 = (statusadd1 > 4) ? 0 : statusadd1;
															switch (statusadd1)
															{
															case 1:
																CLCD_Clear(&LCD1);
																CLCD_SetCursor(&LCD1, 0, 0);
																CLCD_WriteString(&LCD1, "=>  THE 1 ");
																CLCD_SetCursor(&LCD1, 0, 1);
																CLCD_WriteString(&LCD1, "    THE 2 ");
																break;
															case 2:
																CLCD_Clear(&LCD1);
																CLCD_SetCursor(&LCD1, 0, 0);
																CLCD_WriteString(&LCD1, "=>  THE 2 ");
																CLCD_SetCursor(&LCD1, 0, 1);
																CLCD_WriteString(&LCD1, "    THE 3 ");
																break;
															case 3:
																CLCD_Clear(&LCD1);
																CLCD_SetCursor(&LCD1, 0, 0);
																CLCD_WriteString(&LCD1, "=>  THE 3 ");
																CLCD_SetCursor(&LCD1, 0, 1);
																CLCD_WriteString(&LCD1, "    THE 4 ");
																break;
															case 4:
																CLCD_Clear(&LCD1);
																CLCD_SetCursor(&LCD1, 0, 0);
																CLCD_WriteString(&LCD1, "=>  THE 4 ");
																CLCD_SetCursor(&LCD1, 0, 1);
																CLCD_WriteString(&LCD1, "    BACK ");
																break;
															default:
																CLCD_Clear(&LCD1);
																CLCD_SetCursor(&LCD1, 0, 0);
																CLCD_WriteString(&LCD1, "    THE 4 ");
																CLCD_SetCursor(&LCD1, 0, 1);
																CLCD_WriteString(&LCD1, "=>  BACK");
																break;
															}
														}
														if (checkbuton(MENU_GPIO_Port, MENU_Pin) != 0)
														{
															exitmenu = 15;
															uint8_t keyadd1 = (statusadd << 4) + statusadd1;
															switch (statusadd1)
															{
															case 1:
																if (CheckKey(keyadd1) == 0)
																{
																	CLCD_Clear(&LCD1);
																	CLCD_SetCursor(&LCD1, 0, 0);
																	CLCD_WriteString(&LCD1, "CHUA CO THE 1 ");
																	HAL_Delay(1000);
																	CLCD_Clear(&LCD1);
																	CLCD_SetCursor(&LCD1, 0, 0);
																	CLCD_WriteString(&LCD1, "=>  THE 1 ");
																	CLCD_SetCursor(&LCD1, 0, 1);
																	CLCD_WriteString(&LCD1, "    THE 2 ");
																}
																else
																{
																	removeuid(CheckKey(keyadd1));
																	CLCD_Clear(&LCD1);
																	CLCD_SetCursor(&LCD1, 0, 0);
																	CLCD_WriteString(&LCD1, "XOA THANH CONG");
																	HAL_Delay(1000);
																	if (checkcountUID() == 0)
																	{
																		startadd();
																		exitmenu = 0;
																	}
																	else
																	{
																		CLCD_Clear(&LCD1);
																		CLCD_SetCursor(&LCD1, 0, 0);
																		CLCD_WriteString(&LCD1, "=>  THE 1 ");
																		CLCD_SetCursor(&LCD1, 0, 1);
																		CLCD_WriteString(&LCD1, "    THE 2 ");
																	}
																}
																break;
															case 2:
																if (CheckKey(keyadd1) == 0)
																{
																	CLCD_Clear(&LCD1);
																	CLCD_SetCursor(&LCD1, 0, 0);
																	CLCD_WriteString(&LCD1, "CHUA CO THE 2 ");
																	HAL_Delay(1000);
																	CLCD_Clear(&LCD1);
																	CLCD_SetCursor(&LCD1, 0, 0);
																	CLCD_WriteString(&LCD1, "=>  THE 2 ");
																	CLCD_SetCursor(&LCD1, 0, 1);
																	CLCD_WriteString(&LCD1, "    THE 3 ");
																}
																else
																{
																	removeuid(CheckKey(keyadd1));
																	CLCD_Clear(&LCD1);
																	CLCD_SetCursor(&LCD1, 0, 0);
																	CLCD_WriteString(&LCD1, "XOA THANH CONG");
																	HAL_Delay(1000);
																	if (checkcountUID() == 0)
																	{
																		startadd();
																		exitmenu = 0;
																	}
																	else
																	{
																		CLCD_Clear(&LCD1);
																		CLCD_SetCursor(&LCD1, 0, 0);
																		CLCD_WriteString(&LCD1, "=>  THE 2 ");
																		CLCD_SetCursor(&LCD1, 0, 1);
																		CLCD_WriteString(&LCD1, "    THE 3 ");
																	}
																}
																break;
															case 3:
																if (CheckKey(keyadd1) == 0)
																{
																	CLCD_Clear(&LCD1);
																	CLCD_SetCursor(&LCD1, 0, 0);
																	CLCD_WriteString(&LCD1, "CHUA CO THE 3 ");
																	HAL_Delay(1000);
																	CLCD_Clear(&LCD1);
																	CLCD_SetCursor(&LCD1, 0, 0);
																	CLCD_WriteString(&LCD1, "=>  THE 3 ");
																	CLCD_SetCursor(&LCD1, 0, 1);
																	CLCD_WriteString(&LCD1, "    THE 4 ");
																}
																else
																{
																	removeuid(CheckKey(keyadd1));
																	CLCD_Clear(&LCD1);
																	CLCD_SetCursor(&LCD1, 0, 0);
																	CLCD_WriteString(&LCD1, "XOA THANH CONG");
																	HAL_Delay(1000);
																	if (checkcountUID() == 0)
																	{
																		startadd();
																		exitmenu = 0;
																	}
																	else
																	{
																		CLCD_Clear(&LCD1);
																		CLCD_SetCursor(&LCD1, 0, 0);
																		CLCD_WriteString(&LCD1, "=>  THE 3 ");
																		CLCD_SetCursor(&LCD1, 0, 1);
																		CLCD_WriteString(&LCD1, "    THE 4 ");
																	}
																}
																break;
															case 4:
																if (CheckKey(keyadd1) == 0)
																{
																	CLCD_Clear(&LCD1);
																	CLCD_SetCursor(&LCD1, 0, 0);
																	CLCD_WriteString(&LCD1, "CHUA CO THE 4 ");
																	HAL_Delay(1000);
																	CLCD_Clear(&LCD1);
																	CLCD_SetCursor(&LCD1, 0, 0);
																	CLCD_WriteString(&LCD1, "=>  THE 4 ");
																	CLCD_SetCursor(&LCD1, 0, 1);
																	CLCD_WriteString(&LCD1, "    BACK ");
																}
																else
																{
																	removeuid(CheckKey(keyadd1));
																	CLCD_Clear(&LCD1);
																	CLCD_SetCursor(&LCD1, 0, 0);
																	CLCD_WriteString(&LCD1, "XOA THANH CONG");
																	HAL_Delay(1000);
																	if (checkcountUID() == 0)
																	{
																		startadd();
																		exitmenu = 0;
																	}
																	else
																	{
																		CLCD_Clear(&LCD1);
																		CLCD_SetCursor(&LCD1, 0, 0);
																		CLCD_WriteString(&LCD1, "=>  THE 4 ");
																		CLCD_SetCursor(&LCD1, 0, 1);
																		CLCD_WriteString(&LCD1, "    BACK ");
																	}
																}
																break;
															default:
																back11 = 0;
																break;
															}
														}
													}
													CLCD_Clear(&LCD1);
													CLCD_SetCursor(&LCD1, 0, 0);
													CLCD_WriteString(&LCD1, "=> THE NGUOI LON");
													CLCD_SetCursor(&LCD1, 0, 1);
													CLCD_WriteString(&LCD1, "   THE TRE EM");
													break;
												case 2:
													CLCD_Clear(&LCD1);
													CLCD_SetCursor(&LCD1, 0, 0);
													CLCD_WriteString(&LCD1, "=>  THE 1 ");
													CLCD_SetCursor(&LCD1, 0, 1);
													CLCD_WriteString(&LCD1, "    THE 2 ");
													uint8_t statusadd2 = 1;
													uint8_t back12 = 1;
													while (back12 == 1)
													{
														if (exitmenu == 0)
														{
															CLCD_Clear(&LCD1);
															HAL_Delay(1000);
															return;
														}
														if (checkbuton(SELECCT_GPIO_Port, SELECCT_Pin) != 0)
														{
															exitmenu = 15;
															statusadd2++;
															statusadd2 = (statusadd2 > 4) ? 0 : statusadd2;
															switch (statusadd2)
															{
															case 1:
																CLCD_Clear(&LCD1);
																CLCD_SetCursor(&LCD1, 0, 0);
																CLCD_WriteString(&LCD1, "=>  THE 1 ");
																CLCD_SetCursor(&LCD1, 0, 1);
																CLCD_WriteString(&LCD1, "    THE 2 ");
																break;
															case 2:
																CLCD_Clear(&LCD1);
																CLCD_SetCursor(&LCD1, 0, 0);
																CLCD_WriteString(&LCD1, "=>  THE 2 ");
																CLCD_SetCursor(&LCD1, 0, 1);
																CLCD_WriteString(&LCD1, "    THE 3 ");
																break;
															case 3:
																CLCD_Clear(&LCD1);
																CLCD_SetCursor(&LCD1, 0, 0);
																CLCD_WriteString(&LCD1, "=>  THE 3 ");
																CLCD_SetCursor(&LCD1, 0, 1);
																CLCD_WriteString(&LCD1, "    THE 4 ");
																break;
															case 4:
																CLCD_Clear(&LCD1);
																CLCD_SetCursor(&LCD1, 0, 0);
																CLCD_WriteString(&LCD1, "=>  THE 4 ");
																CLCD_SetCursor(&LCD1, 0, 1);
																CLCD_WriteString(&LCD1, "    BACK ");
																break;
															default:
																CLCD_Clear(&LCD1);
																CLCD_SetCursor(&LCD1, 0, 0);
																CLCD_WriteString(&LCD1, "    THE 4 ");
																CLCD_SetCursor(&LCD1, 0, 1);
																CLCD_WriteString(&LCD1, "=>  BACK");
																break;
															}
														}
														if (checkbuton(MENU_GPIO_Port, MENU_Pin) != 0)
														{
															exitmenu = 15;
															uint8_t keyadd2 = (statusadd << 4) + statusadd2;
															switch (statusadd2)
															{
															case 1:
																if (CheckKey(keyadd2) == 0)
																{
																	CLCD_Clear(&LCD1);
																	CLCD_SetCursor(&LCD1, 0, 0);
																	CLCD_WriteString(&LCD1, "CHUA CO THE 1 ");
																	HAL_Delay(1000);
																	CLCD_Clear(&LCD1);
																	CLCD_SetCursor(&LCD1, 0, 0);
																	CLCD_WriteString(&LCD1, "=>  THE 1 ");
																	CLCD_SetCursor(&LCD1, 0, 1);
																	CLCD_WriteString(&LCD1, "    THE 2 ");
																}
																else
																{
																	removeuid(CheckKey(keyadd2));
																	CLCD_Clear(&LCD1);
																	CLCD_SetCursor(&LCD1, 0, 0);
																	CLCD_WriteString(&LCD1, "XOA THANH CONG");
																	HAL_Delay(1000);
																	CLCD_Clear(&LCD1);
																	CLCD_SetCursor(&LCD1, 0, 0);
																	CLCD_WriteString(&LCD1, "=>  THE 1 ");
																	CLCD_SetCursor(&LCD1, 0, 1);
																	CLCD_WriteString(&LCD1, "    THE 2 ");
																}
																break;
															case 2:
																if (CheckKey(keyadd2) == 0)
																{
																	CLCD_Clear(&LCD1);
																	CLCD_SetCursor(&LCD1, 0, 0);
																	CLCD_WriteString(&LCD1, "CHUA CO THE 2 ");
																	HAL_Delay(1000);
																	CLCD_Clear(&LCD1);
																	CLCD_SetCursor(&LCD1, 0, 0);
																	CLCD_WriteString(&LCD1, "=>  THE 2 ");
																	CLCD_SetCursor(&LCD1, 0, 1);
																	CLCD_WriteString(&LCD1, "    THE 3 ");
																}
																else
																{
																	removeuid(CheckKey(keyadd2));
																	CLCD_Clear(&LCD1);
																	CLCD_SetCursor(&LCD1, 0, 0);
																	CLCD_WriteString(&LCD1, "XOA THANH CONG");
																	HAL_Delay(1000);
																	CLCD_Clear(&LCD1);
																	CLCD_SetCursor(&LCD1, 0, 0);
																	CLCD_WriteString(&LCD1, "=>  THE 2 ");
																	CLCD_SetCursor(&LCD1, 0, 1);
																	CLCD_WriteString(&LCD1, "    THE 3 ");
																}
																break;
															case 3:
																if (CheckKey(keyadd2) == 0)
																{
																	CLCD_Clear(&LCD1);
																	CLCD_SetCursor(&LCD1, 0, 0);
																	CLCD_WriteString(&LCD1, "CHUA CO THE 3 ");
																	HAL_Delay(1000);
																	CLCD_Clear(&LCD1);
																	CLCD_SetCursor(&LCD1, 0, 0);
																	CLCD_WriteString(&LCD1, "=>  THE 3 ");
																	CLCD_SetCursor(&LCD1, 0, 1);
																	CLCD_WriteString(&LCD1, "    THE 4 ");
																}
																else
																{
																	removeuid(CheckKey(keyadd2));
																	CLCD_Clear(&LCD1);
																	CLCD_SetCursor(&LCD1, 0, 0);
																	CLCD_WriteString(&LCD1, "XOA THANH CONG");
																	HAL_Delay(1000);
																	CLCD_Clear(&LCD1);
																	CLCD_SetCursor(&LCD1, 0, 0);
																	CLCD_WriteString(&LCD1, "=>  THE 3 ");
																	CLCD_SetCursor(&LCD1, 0, 1);
																	CLCD_WriteString(&LCD1, "    THE 4 ");
																}
																break;
															case 4:
																if (CheckKey(keyadd2) == 0)
																{
																	CLCD_Clear(&LCD1);
																	CLCD_SetCursor(&LCD1, 0, 0);
																	CLCD_WriteString(&LCD1, "CHUA CO THE 4 ");
																	HAL_Delay(1000);
																	CLCD_Clear(&LCD1);
																	CLCD_SetCursor(&LCD1, 0, 0);
																	CLCD_WriteString(&LCD1, "=>  THE 4 ");
																	CLCD_SetCursor(&LCD1, 0, 1);
																	CLCD_WriteString(&LCD1, "    BACK ");
																}
																else
																{
																	removeuid(CheckKey(keyadd2));
																	CLCD_Clear(&LCD1);
																	CLCD_SetCursor(&LCD1, 0, 0);
																	CLCD_WriteString(&LCD1, "XOA THANH CONG");
																	HAL_Delay(1000);
																	CLCD_Clear(&LCD1);
																	CLCD_SetCursor(&LCD1, 0, 0);
																	CLCD_WriteString(&LCD1, "=>  THE 4 ");
																	CLCD_SetCursor(&LCD1, 0, 1);
																	CLCD_WriteString(&LCD1, "    BACK ");
																}
																break;
															default:
																back12 = 0;
																break;
															}
														}
													}
													CLCD_Clear(&LCD1);
													CLCD_SetCursor(&LCD1, 0, 0);
													CLCD_WriteString(&LCD1, "   THE NGUOI LON");
													CLCD_SetCursor(&LCD1, 0, 1);
													CLCD_WriteString(&LCD1, "=> THE TRE EM");
													break;
												default:
													backrm10 = 0;
													break;
												}
											}
										}
										CLCD_Clear(&LCD1);
										CLCD_SetCursor(&LCD1, 0, 0);
										CLCD_WriteString(&LCD1, "=> CHON THE");
										CLCD_SetCursor(&LCD1, 0, 1);
										CLCD_WriteString(&LCD1, "   QUET THE");
										break;
									case 1:
										CLCD_Clear(&LCD1);
										CLCD_SetCursor(&LCD1, 0, 0);
										CLCD_WriteString(&LCD1, "QUET THE");
										CLCD_SetCursor(&LCD1, 0, 1);
										CLCD_WriteString(&LCD1, "=>  BACK");
										uint8_t rmquet = 1;
										while (rmquet)
										{
											if (TM_MFRC522_Check(CardID) == MI_OK)
											{
												HAL_GPIO_WritePin(LED_GPIO_Port, LED_Pin, 1);
												HAL_GPIO_WritePin(LOA_GPIO_Port, LOA_Pin, 1);
												HAL_Delay(delayloa);
												HAL_GPIO_WritePin(LOA_GPIO_Port, LOA_Pin, 0);
												HAL_GPIO_WritePin(LED_GPIO_Port, LED_Pin, 0);
												if (CheckListUID(CardID) != 0)
												{
													removeuid(CheckKey(CheckListUID(CardID)));
													CLCD_Clear(&LCD1);
													CLCD_SetCursor(&LCD1, 0, 0);
													CLCD_WriteString(&LCD1, "XOA THANH CONG");
													HAL_Delay(1000);
													if (checkcountUID() == 0)
													{
														startadd();
														rmquet = 1;
														exitmenu = 0;
														return;
													}else{
														CLCD_Clear(&LCD1);
														CLCD_SetCursor(&LCD1, 0, 0);
														CLCD_WriteString(&LCD1, "QUET THE");
														CLCD_SetCursor(&LCD1, 0, 1);
														CLCD_WriteString(&LCD1, "=>  BACK");
													}

												}
												else
												{
													CLCD_Clear(&LCD1);
													CLCD_SetCursor(&LCD1, 0, 0);
													CLCD_WriteString(&LCD1, "THE CHUA THEM");
													HAL_Delay(1000);
													CLCD_Clear(&LCD1);
													CLCD_SetCursor(&LCD1, 0, 0);
													CLCD_WriteString(&LCD1, "QUET THE");
													CLCD_SetCursor(&LCD1, 0, 1);
													CLCD_WriteString(&LCD1, "=>  BACK");
												}
											}
											if (checkbuton(MENU_GPIO_Port, MENU_Pin) == 1)
											{
												rmquet = 0;
											}
										}
										CLCD_Clear(&LCD1);
										CLCD_SetCursor(&LCD1, 0, 0);
										CLCD_WriteString(&LCD1, "   CHON THE");
										CLCD_SetCursor(&LCD1, 0, 1);
										CLCD_WriteString(&LCD1, "=> QUET THE");
										break;
									default:
										backrm1 = 0;
										break;
									}
								}
							}
							CLCD_Clear(&LCD1);
							CLCD_SetCursor(&LCD1, 0, 0);
							CLCD_WriteString(&LCD1, "=> XOA 1 THE");
							CLCD_SetCursor(&LCD1, 0, 1);
							CLCD_WriteString(&LCD1, "   XOA TAT CA");
							break;
						case 1:
							resetflash();
							startadd();
							exitmenu = 0;
							break;
						default:
							backrm = 0;
							break;
						}
					}
				}
				CLCD_Clear(&LCD1);
				CLCD_SetCursor(&LCD1, 0, 0);
				CLCD_WriteString(&LCD1, "    THEM THE");
				CLCD_SetCursor(&LCD1, 0, 1);
				CLCD_WriteString(&LCD1, "=>  XOA THE");
				break;
			case 2:
				checkthe();
				CLCD_Clear(&LCD1);
				CLCD_SetCursor(&LCD1, 0, 0);
				CLCD_WriteString(&LCD1, "    XOA THE");
				CLCD_SetCursor(&LCD1, 0, 1);
				CLCD_WriteString(&LCD1, "=>  TRA THE");
				break;
				break;
			default:
				exitmenu = 0;
				break;
			}
		}
	}
	CLCD_Clear(&LCD1);
	HAL_Delay(1000);
}
uint8_t CheckUID(uint8_t *data, uint32_t address)
{
	uint8_t arr[8];
	Flash_Read_Array(address, arr, 8);
	if (arr[6] != 0xFF)
		return 0;
	for (uint8_t i = 0; i < 5; i++)
	{
		if (data[i] != arr[i])
			return 0;
	}
	return 1;
}

uint8_t CheckListUID(uint8_t *data)
{
	uint32_t pt = StartAddressUID;
	while (Flash_Read_Byte(pt + 5) != 0xFF)
	{
		if(Flash_Read_2Byte(pt + 6) == 0xFFFF){
			if (CheckUID(data, pt) == 1)
				return *(uint8_t *)(pt + 5);
		}
		pt = pt + 8;
	}
	return 0;
}
uint8_t checkcountUID(void)
{
	uint32_t pt = StartAddressUID;
	uint8_t count = 0;
	while (Flash_Read_Byte(pt + 5) != 0xFF)
	{
		if(Flash_Read_2Byte(pt + 6) == 0xFFFF){
			if ((Flash_Read_Byte(pt + 5) >> 4) == 1)
			{
				count++;
			}
		}
		pt = pt + 8;
	}
	return count;
}
void adduid(uint8_t key)
{
	setaddress();
	CLCD_Clear(&LCD1);
	CLCD_SetCursor(&LCD1, 0, 0);
	CLCD_WriteString(&LCD1, "QUET THE");
	CLCD_SetCursor(&LCD1, 0, 1);
	CLCD_WriteString(&LCD1, "=>  BACK");
	while (exitmenu)
	{
		if (TM_MFRC522_Check(CardID) == MI_OK)
		{
			HAL_GPIO_WritePin(LED_GPIO_Port, LED_Pin, 1);
			HAL_GPIO_WritePin(LOA_GPIO_Port, LOA_Pin, 1);
			HAL_Delay(delayloa);
			HAL_GPIO_WritePin(LOA_GPIO_Port, LOA_Pin, 0);
			HAL_GPIO_WritePin(LED_GPIO_Port, LED_Pin, 0);
			if (CheckListUID(CardID) == 0)
			{
				CardID[5] = key;
				Flash_Write_Array(AddressUID, CardID, 6);
				AddressUID += 8;
				CLCD_Clear(&LCD1);
				CLCD_SetCursor(&LCD1, 0, 0);
				CLCD_WriteString(&LCD1, "THANH CONG");
				HAL_Delay(1000);
				return;
			}
			else
			{
				CLCD_Clear(&LCD1);
				CLCD_SetCursor(&LCD1, 0, 0);
				CLCD_WriteString(&LCD1, "THE DA TON TAI");
				HAL_Delay(1000);
				CLCD_Clear(&LCD1);
				CLCD_SetCursor(&LCD1, 0, 0);
				CLCD_WriteString(&LCD1, "QUET THE");
				CLCD_SetCursor(&LCD1, 0, 1);
				CLCD_WriteString(&LCD1, "=>  BACK");
			}
		}
		if (checkbuton(MENU_GPIO_Port, MENU_Pin) == 1)
		{
			return;
		}
	}
}
void checkthe(void)
{
	exitmenu = 30;
	CLCD_Clear(&LCD1);
	CLCD_SetCursor(&LCD1, 0, 0);
	CLCD_WriteString(&LCD1, "QUET THE");
	CLCD_SetCursor(&LCD1, 0, 1);
	CLCD_WriteString(&LCD1, "=>  BACK");
	while (exitmenu )
	{
		if (TM_MFRC522_Check(CardID) == MI_OK)
		{
			HAL_GPIO_WritePin(LED_GPIO_Port, LED_Pin, 1);
			HAL_GPIO_WritePin(LOA_GPIO_Port, LOA_Pin, 1);
			HAL_Delay(delayloa);
			HAL_GPIO_WritePin(LOA_GPIO_Port, LOA_Pin, 0);
			HAL_GPIO_WritePin(LED_GPIO_Port, LED_Pin, 0);
			if (CheckListUID(CardID) == 0)
			{
				CLCD_Clear(&LCD1);
				CLCD_SetCursor(&LCD1, 0, 0);
				CLCD_WriteString(&LCD1, "THE CHUA THEM");
				HAL_Delay(1000);
				CLCD_Clear(&LCD1);
				CLCD_SetCursor(&LCD1, 0, 0);
				CLCD_WriteString(&LCD1, "QUET THE");
				CLCD_SetCursor(&LCD1, 0, 1);
				CLCD_WriteString(&LCD1, "=>  BACK");
				HAL_Delay(1000);
			}
			else
			{
				uint8_t key = CheckListUID(CardID);
				uint8_t key2 = key & 0x0f;
				uint8_t key1 = key >> 4;
				CLCD_Clear(&LCD1);
				switch (key1)
				{
				case 1:
					CLCD_SetCursor(&LCD1, 0, 0);
					CLCD_WriteString(&LCD1, "THE NGUOI LON");
					break;
				default:
					CLCD_SetCursor(&LCD1, 0, 0);
					CLCD_WriteString(&LCD1, "THE TRE EM");
					break;
				}
				switch (key2)
				{
				case 1:
					CLCD_SetCursor(&LCD1, 0, 1);
					CLCD_WriteString(&LCD1, "THE 1");
					break;
				case 2:
					CLCD_SetCursor(&LCD1, 0, 1);
					CLCD_WriteString(&LCD1, "THE 2");
					break;
				case 3:
					CLCD_SetCursor(&LCD1, 0, 1);
					CLCD_WriteString(&LCD1, "THE 3");
					break;
				default:
					CLCD_SetCursor(&LCD1, 0, 1);
					CLCD_WriteString(&LCD1, "THE 4");
					break;
				}
				HAL_Delay(1000);
				CLCD_Clear(&LCD1);
				CLCD_SetCursor(&LCD1, 0, 0);
				CLCD_WriteString(&LCD1, "QUET THE");
				CLCD_SetCursor(&LCD1, 0, 1);
				CLCD_WriteString(&LCD1, "=>  BACK");
			}
		}
		if (checkbuton(MENU_GPIO_Port, MENU_Pin) == 1)
		{
			return;
		}
	}
}
uint32_t CheckKey(uint8_t key)
{
	uint32_t pt = StartAddressUID;
	while (Flash_Read_Byte(pt + 5) != 0xFF)
	{
		if(Flash_Read_2Byte(pt + 6) == 0xFFFF){
			if (*(uint8_t *)(pt + 5) == key)
				return pt;
		}
		pt = pt + 8;
	}
	return 0;
}
void removeuid(uint32_t addressrm)
{
	Flash_Write_2Byte(addressrm + 6, 0x0000);
}
void startadd(void)
{
	CLCD_Clear(&LCD1);
	CLCD_SetCursor(&LCD1, 0, 0);
	CLCD_WriteString(&LCD1, "MOI QUET THE");
	CLCD_SetCursor(&LCD1, 0, 1);
	CLCD_WriteString(&LCD1, "THE NGUOI LON");
	setaddress();
	while (1)
		{
			if (TM_MFRC522_Check(CardID) == MI_OK)
			{
				HAL_GPIO_WritePin(LED_GPIO_Port, LED_Pin, 1);
				HAL_GPIO_WritePin(LOA_GPIO_Port, LOA_Pin, 1);
				HAL_Delay(delayloa);
				HAL_GPIO_WritePin(LOA_GPIO_Port, LOA_Pin, 0);
				HAL_GPIO_WritePin(LED_GPIO_Port, LED_Pin, 0);
				if (CheckListUID(CardID) == 0)
				{
					CardID[5] = 0x11;
					Flash_Write_Array(AddressUID, CardID, 6);
					AddressUID += 8;
					break;
				}
				else
				{
					CLCD_Clear(&LCD1);
					CLCD_SetCursor(&LCD1, 0, 0);
					CLCD_WriteString(&LCD1, "THE DA TON TAI");
					HAL_Delay(1000);
					CLCD_Clear(&LCD1);
					CLCD_SetCursor(&LCD1, 0, 0);
					CLCD_WriteString(&LCD1, "MOI QUET THE");
					CLCD_SetCursor(&LCD1, 0, 1);
					CLCD_WriteString(&LCD1, "THE NGUOI LON");
				}
			}
		}
	CLCD_Clear(&LCD1);
	CLCD_SetCursor(&LCD1, 0, 0);
	CLCD_WriteString(&LCD1, "THEM THANH CONG");
	CLCD_SetCursor(&LCD1, 0, 1);
	CLCD_WriteString(&LCD1, "THE NGUOI LON");
	HAL_Delay(1000);
	CLCD_Clear(&LCD1);
}
void setaddress(void){
	uint32_t pt = StartAddressUID;
	while (Flash_Read_Byte(pt + 5) != 0xFF)
	{
		pt = pt + 8;
	}
	AddressUID = pt;
}

void password(void){
	CLCD_Clear(&LCD1);
	CLCD_SetCursor(&LCD1, 0, 0);
	CLCD_WriteString(&LCD1, "NHAP PASSWORD :");
	exitmenu =120;
	uint8_t pass[16] = {-1};
	uint8_t k=0;
	uint8_t pas = -1;
	HAL_Delay(1000);
	while(checkbuton(MENU_GPIO_Port, MENU_Pin) != 0){}
	CLCD_SetCursor(&LCD1, k, 1);
	CLCD_WriteChar(&LCD1, 95);
	while(exitmenu){
		if(checkbuton(SELECCT_GPIO_Port, SELECCT_Pin) == 1){
			pas++;
			if(pas == 10)	pas = 0;
			CLCD_SetCursor(&LCD1, k, 1);
			CLCD_WriteChar(&LCD1, pas + 0x30);
		}
		if(checkbuton(MENU_GPIO_Port, MENU_Pin) == 1){
			pass[k] = pas;
			k = k+1;
			pas = -1;
			if(k == 16){
				for(uint8_t i = 0; i<16; i++){
					if(pass[i] != PassWord[i]){
						return;
					}
				}
				HAL_GPIO_WritePin(KHOA_GPIO_Port, KHOA_Pin, 1);
				HAL_Delay(5000);
				HAL_GPIO_WritePin(KHOA_GPIO_Port, KHOA_Pin, 0);
				resetflash();
				startadd();
				exitmenu =0;
			}
			CLCD_SetCursor(&LCD1, k, 1);
			CLCD_WriteChar(&LCD1, 95);
		}

	}

}
void resetflash(){
	uint32_t pt = StartAddressUID;
	while(Flash_Read_8Byte(pt) != 0xFFFFFFFFFFFFFFFF){
		Flash_Erase(pt);
	}
}
/* USER CODE END 4 */

void Error_Handler(void)
{
	__disable_irq();
	while (1)
	{
	}
}
